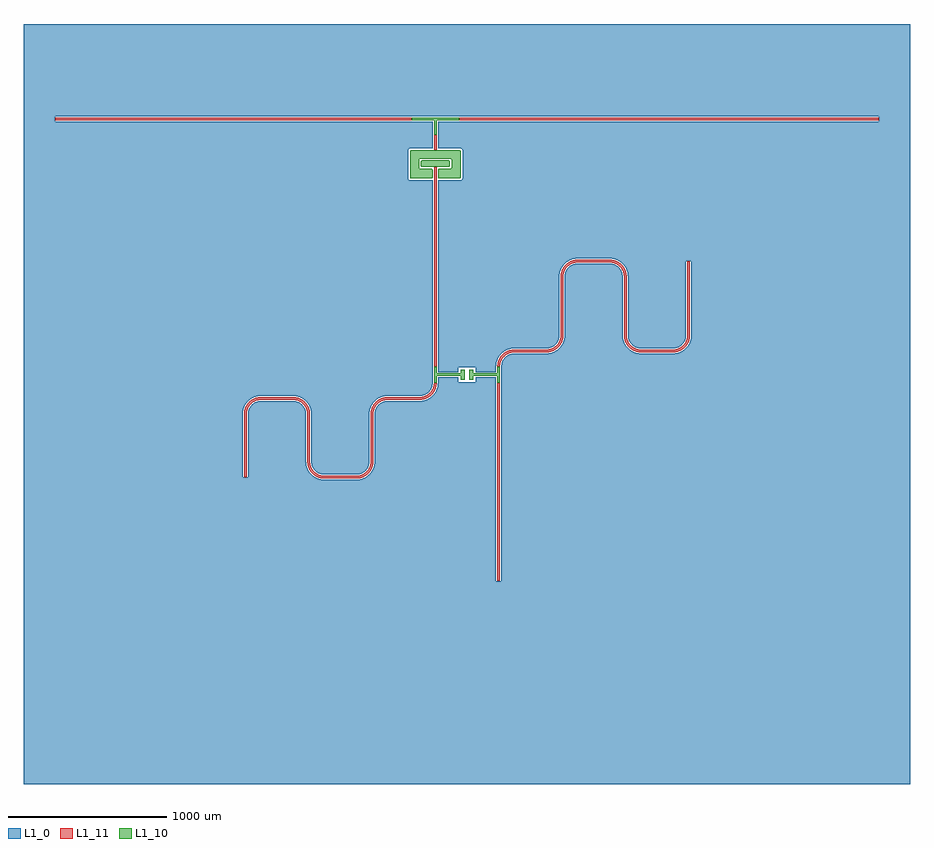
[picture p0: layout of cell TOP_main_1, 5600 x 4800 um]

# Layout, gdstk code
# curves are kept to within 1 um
import gdstk
lib = gdstk.Library(unit=1e-6, precision=1e-09)
def R(c, l, rs):  # rectangles x0, y0, x1, y1
    for r in rs: c.add(gdstk.rectangle(r[:2], r[2:], *l))
def P(c, l, *ps):  # polygons
    for p in ps: c.add(gdstk.Polygon(p, *l))
L1_0 = (1, 0)
L1_10 = (1, 10)
L1_11 = (1, 11)

ground_main_1 = lib.new_cell('ground_main_1')
R(ground_main_1, L1_0, [(-183,1414,-52.696,1583), (-1019.576,1617,-652.909,2200), (-652.909,1617,-501,2200), (-501,1617,-52.696,2200), (-52.696,1617,299,2200), (299,1617,651.819,2200), (651.819,1617,1019.151,2200)])
P(ground_main_1, L1_0, [(-1019.576,-2600),(-1019.576,-243.607),(-1023.744,-231.434),(-1029.765,-220.062),(-1044.772,-202.491),(-1055.062,-194.765),(-1066.434,-188.744),(-1078.607,-184.576),(-1091.283,-182.364),(-1308.717,-182.364),(-1323.877,-185.256),(-1338.227,-190.937),(-1351.258,-199.207),(-1360.775,-207.867),(-1368.821,-217.909),(-1376.256,-231.434),(-1380.424,-243.607),(-1382.838,-258.851),(-1383,-662.254),(-1417,-662.254),(-1416.841,-257.929),(-1414.465,-239.882),(-1409.295,-222.429),(-1401.459,-206),(-1391.149,-190.999),(-1374.001,-173.851),(-1353.663,-160.643),(-1328.08,-151.205),(-1304.037,-148.04),(-1086.875,-148.635),(-1068.977,-151.953),(-1051.819,-158.029),(-1035.822,-166.714),(-1019.576,-179.463),(-1019.576,1583),(-2600,1583),(-2600,1617),(-1019.576,1617),(-1019.576,2200),(-2800,2200),(-2800,-2600)],
  [(-696.424,-645.213),(-673.661,-641.241),(-652.909,-631.075),(-652.909,1583),(-1019.576,1583),(-1019.576,-179.463),(-1006.971,-193.384),(-995.643,-211.337),(-987.777,-231.054),(-983.635,-251.875),(-981.99,-576.082),(-975.196,-598.168),(-962.509,-617.482),(-944.938,-632.489),(-933.566,-638.51),(-921.393,-642.678),(-901,-645.254)],
  [(-652.909,-669.694),(-674.882,-676.719),(-695.963,-679.214),(-913.125,-678.618),(-933.946,-674.477),(-953.663,-666.611),(-974.001,-653.403),(-989.207,-638.59),(-999.906,-623.864),(-1008.17,-607.645),(-1013.795,-590.334),(-1016.642,-572.355),(-1017,-264),(-1019.576,-243.607),(-1019.576,-2600),(-652.909,-2600)],
  [(-650.802,-629.593),(-637.491,-617.482),(-627.143,-602.758),(-621.013,-588.593),(-617.364,-570.971),(-616.96,-260.963),(-615.058,-242.861),(-611.323,-228.154),(-604.357,-211.337),(-594.846,-195.817),(-583.024,-181.976),(-569.183,-170.154),(-553.663,-160.643),(-536.846,-153.677),(-519.146,-149.428),(-501,-148),(-501,1583),(-652.909,1583),(-652.909,-631.075)],
  [(-501,-182),(-513.828,-183.01),(-526.339,-186.013),(-538.227,-190.937),(-549.198,-197.661),(-558.983,-206.017),(-567.339,-215.802),(-574.063,-226.773),(-578.987,-238.661),(-582.96,-261.424),(-583,-563.254),(-584.428,-581.4),(-591.83,-607.645),(-606.971,-633.87),(-628.384,-655.283),(-652.909,-669.694),(-652.909,-2600),(-501,-2600)],
  [(-299,-148),(-283.635,-146.548),(-268.814,-142.242),(-255.062,-135.235),(-242.867,-125.775),(-232.661,-114.198),(-224.804,-100.914),(-219.576,-86.393),(-217.162,-71.149),(-217,1213),(-360,1213),(-364.592,1213.913),(-369.276,1217.387),(-372,1225),(-372,1402),(-369.276,1409.613),(-361.176,1413.942),(-217,1414),(-217,1583),(-501,1583),(-501,-148)],
  [(-54.49,31.696),(-52.696,33.49),(-52.696,1213),(-183,1213),(-183,2),(-54.5,2)],
  [(-52.696,-63.49),(-54.49,-61.696),(-54.5,-32),(-183,-32),(-183.992,-81.141),(-187.777,-98.946),(-194.3,-115.939),(-203.401,-131.703),(-216.976,-148.024),(-233.297,-161.599),(-249.061,-170.7),(-271.92,-178.795),(-292.929,-181.841),(-501,-182),(-501,-2600),(-52.696,-2600)],
  [(52.5,33.5),(54.49,31.696),(54.5,2),(183,2),(183.159,42.071),(186.205,63.08),(194.3,85.939),(206.971,106.616),(223.664,124.207),(246.337,139.357),(271.92,148.795),(299,152),(299,1583),(-52.696,1583),(-52.696,1414),(-38.824,1413.942),(-34.343,1412.583),(-30.022,1408.667),(-28,1402),(-28.058,1223.824),(-30.022,1218.333),(-35.408,1213.913),(-52.696,1213),(-52.696,33.49)],
  [(299,118),(283.635,116.548),(268.814,112.242),(255.062,105.235),(242.867,95.775),(232.661,84.198),(224.804,70.914),(219.576,56.393),(217.162,41.149),(217,-1321),(183,-1321),(183,-32),(54.5,-32),(54.5,-61.5),(53.081,-63.414),(-52.696,-63.49),(-52.696,-2600),(299,-2600)],
  [(503.576,152.04),(516.365,153.452),(531.186,157.758),(542.741,163.419),(553.269,170.818),(562.509,179.772),(570.235,190.062),(576.256,201.434),(580.424,213.607),(583,234),(583.992,619.063),(591.83,648.314),(606.971,674.539),(625.999,694.071),(651.819,709.894),(651.819,1583),(299,1583),(299,152)],
  [(651.819,670.976),(639.225,660.055),(628.419,645.664),(621.013,629.262),(617.364,611.639),(616.841,227.929),(611.323,198.154),(598.286,170.822),(585.143,154.151),(566.703,138.401),(545.391,126.83),(522.139,119.942),(501,118),(299,118),(299,-2600),(651.819,-2600)],
  [(657.429,712.218),(677.861,717.98),(695.963,719.883),(916.141,718.93),(939.722,713.269),(961.61,702.829),(980.849,688.066),(994.846,672.105),(1002.943,659.273),(1010.346,642.644),(1015.058,625.062),(1016.841,609.993),(1017,234),(1019.151,215.379),(1019.151,1583),(651.819,1583),(651.819,709.894)],
  [(1019.151,149.857),(1005.154,165.817),(995.643,181.337),(987.777,201.054),(983.635,221.875),(982.96,606.498),(978.987,629.262),(974.063,641.15),(967.339,652.121),(955.228,665.431),(940.504,675.779),(923.877,682.666),(906.149,685.761),(693.851,685.761),(671.223,681.075),(651.819,670.976),(651.819,-2600),(1019.151,-2600)],
  [(2800,2200),(1019.151,2200),(1019.151,1617),(2600,1617),(2600,1583),(1019.151,1583),(1019.151,215.379),(1024.804,199.086),(1037.491,179.772),(1052.909,166.179),(1073.661,156.013),(1096.424,152.04),(1311.277,152.647),(1326.339,156.013),(1340.504,162.143),(1355.228,172.491),(1365.793,183.742),(1372.857,194.496),(1378.152,206.223),(1381.548,218.635),(1382.96,231.424),(1383,702.922),(1417,702.922),(1416.841,227.929),(1415.058,212.861),(1410.346,195.278),(1404.357,181.337),(1394.846,165.817),(1378.619,147.795),(1356.35,132.057),(1333.946,122.777),(1307.071,118.159),(1086.875,118.635),(1066.054,122.777),(1049.061,129.3),(1033.297,138.401),(1019.151,149.857),(1019.151,-2600),(2800,-2600)])

top_main_1 = lib.new_cell('TOP_main_1')
P(top_main_1, L1_10, [(-208,1500),(-208,1592),(-350,1592),(-350,1608),(-50,1608),(-50,1592),(-192,1592),(-192,1500),(-208,1500)],
  [(-291,1330),(-288.657,1335.657),(-283,1338),(-116.216,1337.961),(-111.343,1335.657),(-109.154,1331.561),(-109.039,1304.216),(-111.343,1299.343),(-117,1297),(-283.784,1297.039),(-288.657,1299.343),(-290.846,1303.439)],
  [(-224.902,1225.005),(-219.779,1226.948),(-217.067,1232.022),(-217,1276.902),(-218.247,1281.276),(-224.412,1284.971),(-295,1285),(-299.445,1286.348),(-302.961,1292.216),(-303,1342),(-300.657,1347.657),(-295.784,1349.961),(-217,1350),(-217,1402),(-351.902,1402),(-356.917,1400.301),(-360,1393.902),(-360,1233.098),(-358.301,1228.083),(-351.902,1225)],
  [(-47.902,1225.005),(-42.489,1227.211),(-40.005,1232.902),(-40,1393.902),(-42.211,1399.511),(-48.098,1402),(-217,1402),(-217,1350),(-104.216,1349.961),(-99.343,1347.657),(-97.154,1343.561),(-97.039,1292.216),(-100.555,1286.348),(-105,1285),(-175.588,1284.971),(-181.535,1281.602),(-182.995,1277.098),(-183,1233.098),(-180.789,1227.489),(-174.902,1225)],
  [(-192,35),(-192,-7),(-38.5,-7),(-37.914,16.914),(-14.735,17.348),(-13.5,15.5),(-13.652,-46.265),(-15.5,-47.5),(-37.914,-46.914),(-38.5,-23),(-192,-23),(-192,-65),(-208,-65),(-208,35)],
  [(15.304,-47.49),(13.5,-45.5),(13.5,15.5),(14.735,17.348),(37.914,16.914),(38.5,-7),(192,-7),(192,35),(208,35),(208,-65),(192,-65),(192,-23),(38.5,-23),(37.914,-46.914)])
R(top_main_1, L1_11, [(192,-1315,208,-65), (-208,35,-192,1185), (-208,1185,-192,1297.001), (-208,1401.999,-192,1450), (-208,1450,-192,1500), (-2600,1592,-350,1608), (-50,1592,2600,1608)])
P(top_main_1, L1_11, [(-1392,-264),(-1390.565,-247.903),(-1386.305,-232.314),(-1379.355,-217.724),(-1369.934,-204.593),(-1358.338,-193.336),(-1344.934,-184.308),(-1330.145,-177.793),(-1314.436,-173.997),(-1088.237,-173.639),(-1069.855,-177.793),(-1055.066,-184.308),(-1041.662,-193.336),(-1028.728,-206.194),(-1028.728,-183.311),(-1035.631,-177.783),(-1048.074,-169.896),(-1064.257,-162.798),(-1081.388,-158.459),(-1096.052,-157.041),(-1315.697,-158.014),(-1335.743,-162.798),(-1354.5,-171.335),(-1369.022,-181.405),(-1383.595,-195.978),(-1393.665,-210.5),(-1401.207,-226.482),(-1405.41,-240.601),(-1407.838,-258.106),(-1408,-662.254),(-1392,-662.254)],
  [(-699,-654.254),(-914.436,-653.257),(-932.686,-648.559),(-949.578,-640.203),(-962.423,-630.397),(-974.936,-616.305),(-987.207,-592.399),(-991.84,-568.645),(-992.649,-252.229),(-996.879,-232.059),(-1004.896,-213.074),(-1014.562,-198.279),(-1028.728,-183.311),(-1028.728,-206.194),(-1020.645,-217.724),(-1014.671,-229.8),(-1009.951,-245.256),(-1008.16,-258.609),(-1007.635,-572.09),(-1005.41,-586.653),(-1001.207,-600.772),(-988.93,-624.223),(-973.469,-641.976),(-954.5,-655.919),(-932.941,-665.375),(-912.771,-669.605),(-699,-670.254)],
  [(-696.052,-670.213),(-678.487,-668.269),(-661.482,-663.461),(-645.5,-655.919),(-633.279,-647.692),(-620.278,-635.723),(-609.423,-621.777),(-601.012,-606.235),(-595.274,-589.521),(-592,-563.254),(-591.84,-258.609),(-590.049,-245.256),(-585.329,-229.8),(-579.355,-217.724),(-569.934,-204.593),(-569.934,-182.177),(-583.595,-195.978),(-595.104,-213.074),(-603.121,-232.059),(-607.351,-252.229),(-608,-563.254),(-611.218,-587.24),(-616.845,-602.39),(-623.524,-614.091),(-631.857,-624.677),(-643.781,-635.586),(-655.066,-642.946),(-669.855,-649.461),(-685.564,-653.257),(-699,-654.254),(-699,-670.254)],
  [(-568.143,-202.577),(-556.219,-191.668),(-542.553,-183.041),(-527.577,-176.968),(-511.763,-173.639),(-296.052,-172.959),(-278.487,-171.015),(-261.482,-166.207),(-245.5,-158.665),(-233.279,-150.438),(-222.304,-140.611),(-211.07,-126.969),(-203.529,-114.314),(-196.879,-97.941),(-193.014,-80.697),(-192,-65),(-208,-65),(-208.997,-79.436),(-211.968,-92.577),(-223.524,-116.837),(-231.857,-127.423),(-243.781,-138.332),(-267.314,-151.305),(-280.256,-155.049),(-296.303,-156.96),(-501,-157),(-518.612,-158.459),(-532.941,-161.879),(-546.665,-167.234),(-569.934,-182.177),(-569.934,-204.593)],
  [(208,36),(211.968,62.577),(223.524,86.837),(231.857,97.423),(243.781,108.332),(267.314,121.305),(280.256,125.049),(296.303,126.96),(501,127),(518.612,128.459),(532.941,131.879),(546.665,137.234),(569.934,152.177),(569.934,174.593),(556.219,161.668),(542.553,153.041),(527.577,146.968),(511.763,143.639),(296.052,142.959),(278.487,141.015),(261.482,136.207),(245.5,128.665),(228.728,116.689),(214.562,101.721),(204.896,86.926),(195.274,62.267),(192,35)],
  [(571.272,153.311),(585.438,168.279),(596.471,185.686),(603.963,204.885),(607.635,225.164),(608,603.922),(610.546,625.297),(620.645,650.199),(635.614,669.216),(650.422,680.872),(664.8,688.251),(680.256,692.971),(699,694.922),(699,710.922),(681.388,709.463),(664.257,705.125),(648.074,698.026),(633.279,688.36),(620.278,676.391),(609.423,662.446),(601.012,646.904),(594.59,627.321),(592,603.922),(591.84,228.609),(590.049,215.256),(585.329,199.8),(579.355,187.724),(569.934,174.593),(569.934,152.177)],
  [(1028.728,176.194),(1020.645,187.724),(1014.671,199.8),(1008.359,225.92),(1007.959,606.871),(1003.963,633.037),(998.988,646.904),(992.155,659.955),(977.696,678.533),(961.969,691.853),(941.265,703.057),(918.612,709.463),(901,710.922),(699,710.922),(699,694.922),(901,694.922),(919.744,692.971),(937.684,687.201),(954.051,677.859),(968.143,665.346),(977.949,652.5),(988.032,630.5),(991.96,606.619),(992.649,222.229),(995.274,207.733),(999.865,193.735),(1006.335,180.5),(1014.562,168.279),(1028.728,153.311)],
  [(1303.948,127.041),(1321.513,128.985),(1338.518,133.793),(1354.5,141.335),(1371.272,153.311),(1383.595,165.978),(1393.665,180.5),(1401.207,196.482),(1406.541,216.388),(1408,234),(1408,702.922),(1392,702.922),(1391.96,231.303),(1387.207,204.855),(1374.936,180.949),(1360.407,165.066),(1342.553,153.041),(1322.375,145.546),(1301,143),(1088.237,143.639),(1069.855,147.793),(1055.066,154.308),(1041.662,163.336),(1028.728,176.194),(1028.728,153.311),(1040.477,144.423),(1053.335,137.234),(1067.059,131.879),(1081.388,128.459),(1099,127)])
top_main_1.add(gdstk.Reference(ground_main_1, (0,0)))

lib.write_gds('TOP_main_1.gds')
